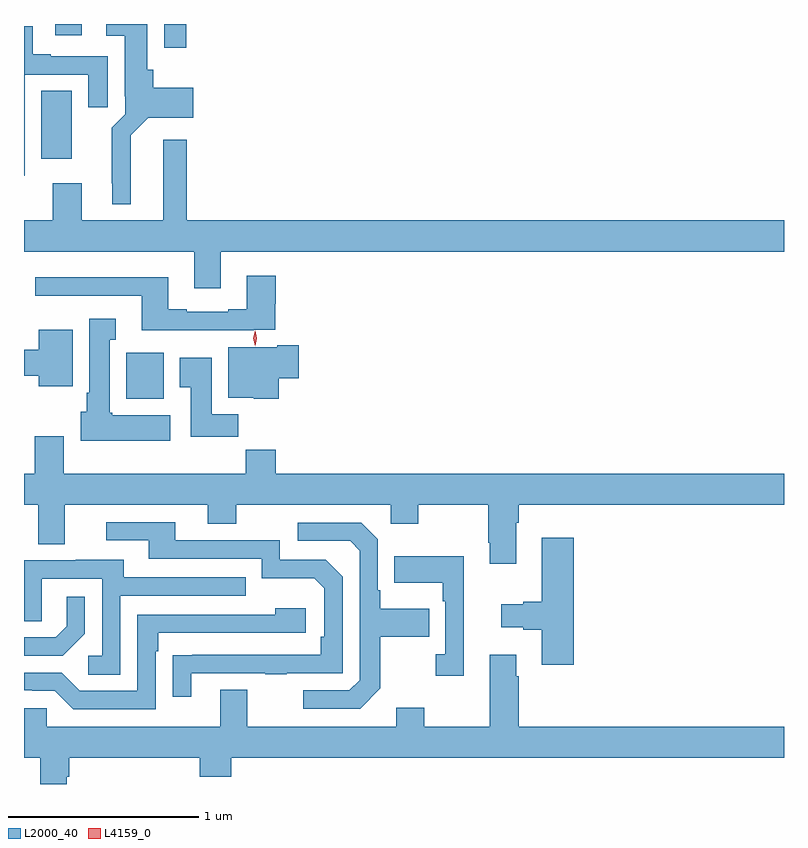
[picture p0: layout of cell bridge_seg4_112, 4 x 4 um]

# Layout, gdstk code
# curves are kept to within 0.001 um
import gdstk
lib = gdstk.Library(unit=1e-6, precision=1e-09)
def R(c, l, rs):  # rectangles x0, y0, x1, y1
    for r in rs: c.add(gdstk.rectangle(r[:2], r[2:], *l))
def P(c, l, *ps):  # polygons
    for p in ps: c.add(gdstk.Polygon(p, *l))
L2000_40 = (2000, 40)
L4159_0 = (4159, 0)

bridge_seg4_112 = lib.new_cell('bridge_seg4_112')
R(bridge_seg4_112, L2000_40, [(627.788,774.734,627.985,774.976), (627.341,775.998,627.499,776.354), (627.987,776.58,628.103,776.706), (627.413,776.646,627.553,776.706)])
P(bridge_seg4_112, L2000_40, [(627.811,776.12),(627.903,776.213),(628.141,776.213),(628.141,776.371),(627.929,776.371),(627.929,776.466),(627.898,776.466),(627.898,776.706),(627.681,776.706),(627.681,776.645),(627.779,776.645),(627.779,776.326),(627.783,776.326),(627.783,776.232),(627.71,776.159),(627.71,775.867),(627.713,775.867),(627.713,775.757),(627.811,775.757)],
  [(627.253,776.439),(627.587,776.439),(627.587,776.268),(627.691,776.268),(627.691,776.535),(627.391,776.535),(627.391,776.548),(627.295,776.548),(627.295,776.695),(627.249,776.695),(627.249,775.908),(627.253,775.908)],
  [(628.285,775.508),(631.249,775.508),(631.249,775.672),(628.106,775.672),(628.106,776.098),(627.983,776.098),(627.983,775.672),(627.553,775.672),(627.553,775.867),(627.401,775.867),(627.401,775.672),(627.249,775.672),(627.249,775.508),(628.145,775.508),(628.145,775.314),(628.285,775.314)],
  [(628.457,775.096),(628.571,775.096),(628.571,775.233),(628.574,775.233),(628.574,775.381),(628.421,775.381),(628.421,775.204),(628.325,775.204),(628.325,775.191),(628.105,775.191),(628.105,775.204),(628.009,775.204),(628.009,775.372),(627.309,775.372),(627.309,775.275),(627.869,775.275),(627.869,775.094),(628.457,775.094)],
  [(628.018,774.646),(627.714,774.646),(627.714,774.66),(627.7,774.66),(627.7,775.043),(627.733,775.043),(627.733,775.156),(627.593,775.156),(627.593,774.766),(627.578,774.766),(627.578,774.666),(627.548,774.666),(627.548,774.512),(628.018,774.512)],
  [(627.505,775.096),(627.326,775.096),(627.326,774.992),(627.249,774.992),(627.249,774.856),(627.326,774.856),(627.326,774.8),(627.505,774.8)],
  [(628.589,774.841),(628.696,774.841),(628.696,775.016),(628.583,775.016),(628.583,775.006),(628.325,775.006),(628.325,774.74),(628.458,774.74),(628.458,774.734),(628.589,774.734)],
  [(628.376,774.652),(628.237,774.652),(628.237,774.949),(628.07,774.949),(628.07,774.793),(628.127,774.793),(628.127,774.534),(628.376,774.534)],
  [(629.839,774.08),(629.852,774.08),(629.852,774.176),(631.249,774.176),(631.249,774.34),(628.574,774.34),(628.574,774.464),(628.417,774.464),(628.417,774.34),(627.457,774.34),(627.457,774.535),(627.305,774.535),(627.305,774.34),(627.249,774.34),(627.249,774.176),(627.323,774.176),(627.323,773.968),(627.463,773.968),(627.463,774.176),(628.217,774.176),(628.217,774.077),(628.365,774.077),(628.365,774.176),(629.178,774.176),(629.178,774.077),(629.325,774.077),(629.325,774.176),(629.692,774.176),(629.692,773.977),(629.699,773.977),(629.699,773.865),(629.839,773.865)],
  [(628.129,773.289),(628.519,773.289),(628.519,773.284),(628.631,773.284),(628.631,773.289),(628.926,773.289),(628.926,773.796),(628.836,773.886),(628.596,773.886),(628.596,773.988),(628.045,773.988),(628.045,774.084),(627.681,774.084),(627.681,773.988),(627.905,773.988),(627.905,773.892),(628.5,773.892),(628.5,773.789),(628.777,773.789),(628.83,773.736),(628.83,773.482),(628.81,773.482),(628.81,773.385),(628.033,773.384),(628.033,773.166),(628.129,773.166)],
  [(629.125,773.209),(629.125,773.482),(629.381,773.482),(629.381,773.629),(629.125,773.629),(629.125,773.725),(629.112,773.725),(629.112,773.994),(629.025,774.081),(628.689,774.081),(628.689,773.985),(628.965,773.985),(629.016,773.934),(629.016,773.253),(628.962,773.199),(628.719,773.199),(628.719,773.103),(629.019,773.103)],
  [(630.143,774.001),(629.975,774.001),(629.975,773.666),(629.876,773.666),(629.876,773.653),(629.76,773.653),(629.76,773.531),(629.876,773.531),(629.876,773.519),(629.975,773.519),(629.975,773.334),(630.143,773.334)],
  [(629.564,773.905),(629.197,773.905),(629.197,773.765),(629.454,773.765),(629.454,773.669),(629.466,773.669),(629.466,773.39),(629.415,773.39),(629.415,773.277),(629.564,773.277)],
  [(627.756,773.697),(628.415,773.697),(628.415,773.793),(627.775,773.793),(627.775,773.887),(627.521,773.887),(627.521,773.883),(627.249,773.883),(627.249,773.563),(627.342,773.563),(627.342,773.787),(627.66,773.787),(627.66,773.382),(627.588,773.382),(627.588,773.281),(627.756,773.281)],
  [(627.57,773.498),(627.57,773.692),(627.473,773.692),(627.473,773.535),(627.416,773.478),(627.249,773.478),(627.249,773.382),(627.454,773.382)],
  [(627.942,773.405),(627.955,773.405),(627.955,773.502),(628.732,773.502),(628.732,773.632),(628.571,773.632),(628.571,773.598),(627.846,773.598),(627.846,773.196),(627.543,773.196),(627.447,773.292),(627.249,773.292),(627.249,773.199),(627.293,773.199),(627.293,773.196),(627.411,773.196),(627.507,773.1),(627.942,773.1)],
  [(627.475,772.743),(627.488,772.743),(627.488,772.844),(628.175,772.844),(628.175,772.745),(628.34,772.745),(628.34,772.844),(631.249,772.844),(631.249,773.008),(629.852,773.008),(629.852,773.273),(629.839,773.273),(629.839,773.386),(629.699,773.386),(629.699,773.008),(629.355,773.008),(629.355,773.107),(629.207,773.107),(629.207,773.008),(628.423,773.008),(628.423,773.203),(628.283,773.203),(628.283,773.008),(627.369,773.008),(627.369,773.106),(627.249,773.106),(627.249,772.844),(627.335,772.844),(627.335,772.706),(627.475,772.706)])
P(bridge_seg4_112, L4159_0, [(628.465,775.012),(628.465,775.013),(628.456,775.052),(628.466,775.092),(628.466,775.092),(628.466,775.092),(628.475,775.052),(628.465,775.013)])

lib.write_gds('bridge_seg4_112.gds')
